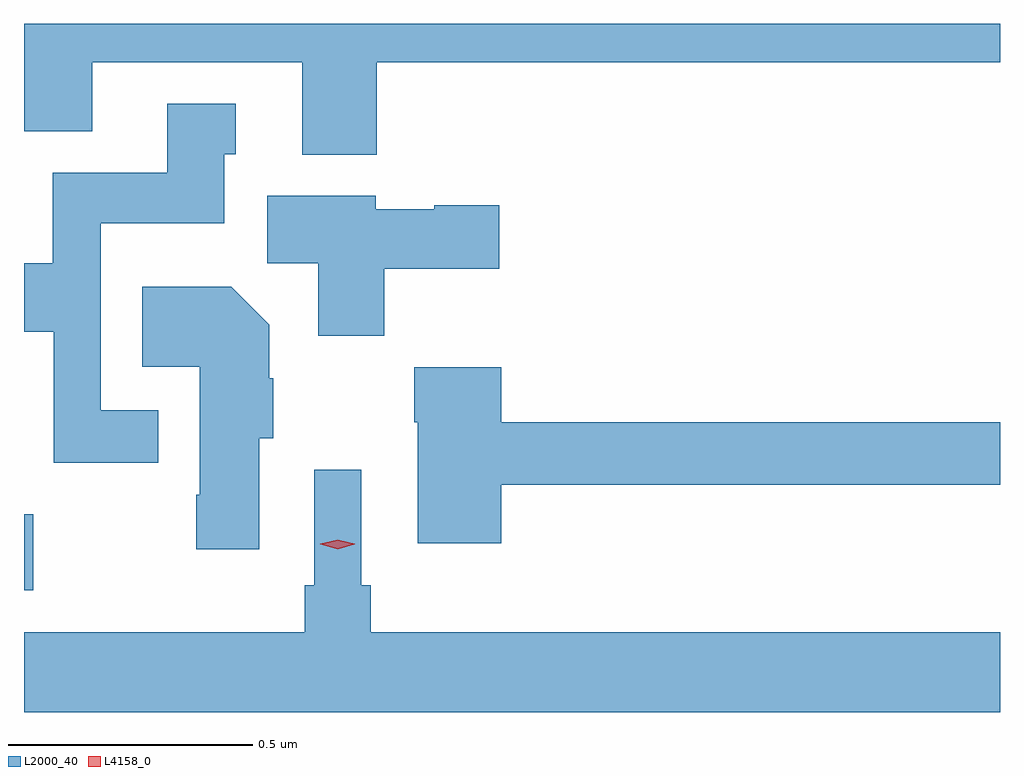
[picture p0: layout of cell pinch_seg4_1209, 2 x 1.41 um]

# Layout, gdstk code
import gdstk
lib = gdstk.Library(unit=1e-6, precision=1e-09)
def R(c, l, rs):  # rectangles x0, y0, x1, y1
    for r in rs: c.add(gdstk.rectangle(r[:2], r[2:], *l))
def P(c, l, *ps):  # polygons
    for p in ps: c.add(gdstk.Polygon(p, *l))
L2000_40 = (2000, 40)
L4158_0 = (4158, 0)

pinch_seg4_1209 = lib.new_cell('pinch_seg4_1209')
R(pinch_seg4_1209, L2000_40, [(558.143,775.758,558.162,775.914)])
P(pinch_seg4_1209, L2000_40, [(558.866,776.84),(560.143,776.84),(560.143,776.919),(558.143,776.919),(558.143,776.699),(558.283,776.699),(558.283,776.84),(558.713,776.84),(558.713,776.651),(558.866,776.651)],
  [(558.418,776.127),(558.3,776.127),(558.3,776.51),(558.553,776.51),(558.553,776.652),(558.577,776.652),(558.577,776.755),(558.437,776.755),(558.437,776.614),(558.202,776.614),(558.202,776.428),(558.143,776.428),(558.143,776.288),(558.204,776.288),(558.204,776.019),(558.418,776.019)],
  [(558.881,776.417),(559.117,776.417),(559.117,776.547),(558.984,776.547),(558.984,776.539),(558.864,776.539),(558.864,776.566),(558.641,776.566),(558.641,776.428),(558.746,776.428),(558.746,776.28),(558.881,776.28)],
  [(558.625,776.07),(558.654,776.07),(558.654,776.192),(558.646,776.192),(558.646,776.302),(558.568,776.38),(558.385,776.38),(558.385,776.216),(558.503,776.216),(558.503,775.954),(558.496,775.954),(558.496,775.842),(558.625,775.842)],
  [(559.121,775.974),(560.143,775.974),(560.143,776.102),(559.121,776.102),(559.121,776.215),(558.943,776.215),(558.943,776.102),(558.95,776.102),(558.95,775.854),(559.121,775.854)],
  [(560.143,775.672),(558.854,775.672),(558.854,775.768),(558.834,775.768),(558.834,776.005),(558.738,776.005),(558.738,775.768),(558.718,775.768),(558.718,775.672),(558.143,775.672),(558.143,775.508),(560.143,775.508)])
P(pinch_seg4_1209, L4158_0, [(558.786,775.842),(558.75,775.852),(558.75,775.852),(558.75,775.853),(558.786,775.862),(558.821,775.853),(558.821,775.852),(558.821,775.852)])

lib.write_gds('pinch_seg4_1209.gds')
